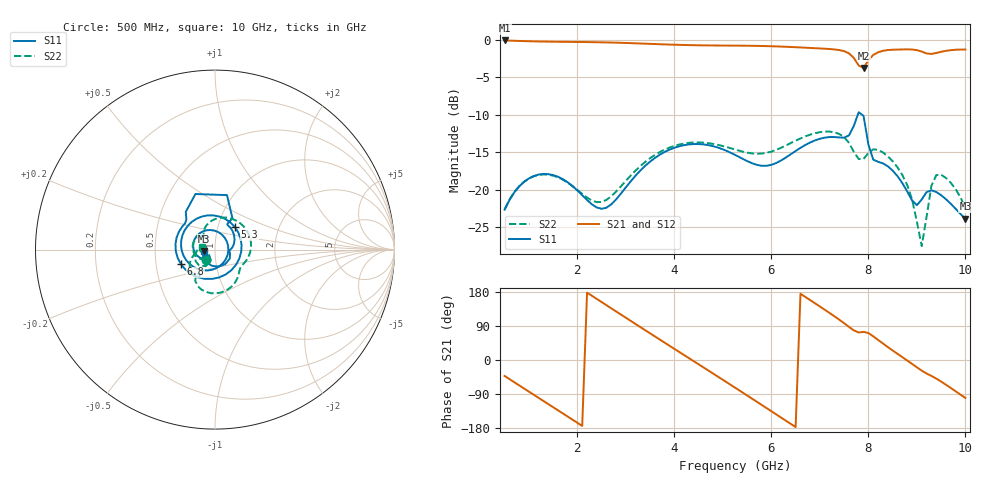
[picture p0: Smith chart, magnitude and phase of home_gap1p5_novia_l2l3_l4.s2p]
! Touchstone file exported from HFSS 3D Layout Design 2026.1.0
!  File:  D:/Work/ADS/SIMADS_EM_PAR/HFSS_VERDICT/hfss_sma_connector_cpw.aedt
!  Generated:  10:24:03 PM Aug  5, 2026
!  Design:  SINGLE_END_SMA_CPW_30MM
!  Project:  hfss_sma_connector_cpw
! Variables:
!  $sma_Base_D = 6.25mm
!  $sma_Base_L = 8mm
!  $sma_Feet_L = 4mm
!  $sma_Feet_W = 1mm
!  $sma_Front_L = 1.5mm
!  $sma_Front_W = 6.5mm
!  $sma_Hole_D = 1.25mm
!  $sma_PTFE_D = 4.2mm
!  $sma_Pin_D = 0.95mm
!  $sma_Pin_P = 1.7mm
# GHz S MA R 50.000000
! Terminal data exported
! Port[1] = Port1
! Port[2] = S1_1_Pin_T1
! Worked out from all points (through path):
!   96 points, 500 MHz to 10 GHz, reference 50 ohm
!   highest |S21| = -0.11 dB at 500 MHz (marker M1); lowest = -3.8 dB at 7.9 GHz (marker M2)
!   group delay of S21, straight-line fit = 227 ps
!   lowest |S11| = -23.9 dB at 10 GHz (marker M3), VSWR 1.14, Z = 44 - j0.687 ohm
!   |S11| at or under -10 dB: start of sweep to 7.782 GHz; 7.869 GHz to end of sweep
!   |S22| runs from -27.5 to -12.3 dB; largest |S21 - S12| = 7.5e-14
!   S11 on the Smith chart (normalised r, x): 500 MHz: 0.90, -0.09; 5.3 GHz: 1.20, +0.31; 6.8 GHz: 0.67, -0.11; 10 GHz: 0.88, -0.01
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0.5  0.07358 -134.6  0.9873 -42.1  0.9873 -42.1  0.07401 -131.5
1.2  0.1261 162.7  0.9721 -99.9  0.9721 -99.9  0.1254 174.6
1.7  0.1175 113.8  0.9666 -141.0  0.9666 -141.0  0.1167 142.5
2.1  0.09194 65.3  0.9638 -174.0  0.9638 -174.0  0.09378 127.2
2.5  0.07462 -2.2  0.9595 152.9  0.9595 152.9  0.08289 128.1
3  0.1037 -85.9  0.9499 111.5  0.9499 111.5  0.1146 123.6
3.7  0.1711 -159.9  0.9318 53.9  0.9318 53.9  0.1782 82.7
4.1  0.1947 165.0  0.9229 21.2  0.9229 21.2  0.2 53.8
4.5  0.2015 130.1  0.9168 -11.4  0.9168 -11.4  0.2066 25.4
5.3  0.1675 48.8  0.9117 -77.0  0.9117 -77.0  0.1834 -20.2
5.7  0.1464 -5.3  0.9083 -110.2  0.9083 -110.2  0.1736 -33.2
6.1  0.1506 -66.4  0.9011 -143.6  0.9011 -143.6  0.1843 -43.1
6.8  0.2064 -156.7  0.8802 158.0  0.8802 158.0  0.2328 -71.8
6.9  0.2132 -167.4  0.8768 149.6  0.8768 149.6  0.2379 -77.2
7.4  0.2229 145.4  0.8517 106.3  0.8517 106.3  0.2351 -108.8
7.7  0.2662 127.6  0.7549 78.1  0.7549 78.1  0.1788 -126.4
7.9  0.3109 77.6  0.6475 74.1  0.6475 74.1  0.1601 -120.6
8.1  0.1586 64.3  0.7909 62.4  0.7909 62.4  0.1859 -127.2
8.5  0.1341 37.9  0.8564 25.2  0.8564 25.2  0.1548 -153.5
9.1  0.08617 -13.0  0.8324 -28.1  0.8324 -28.1  0.04205 -143.9
9.4  0.0965 -78.3  0.8149 -49.0  0.8149 -49.0  0.1251 -135.4
10  0.06397 -173.0  0.8591 -100.3  0.8591 -100.3  0.0751 168.5
